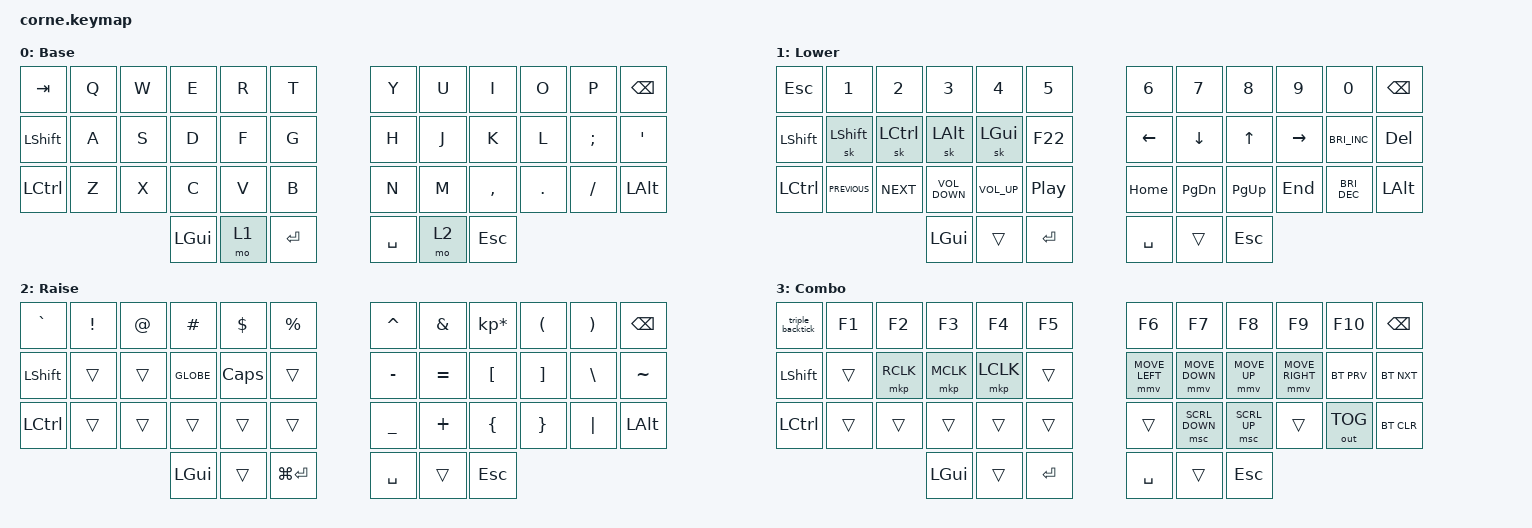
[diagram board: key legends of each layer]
/*
 * Copyright (c) 2020 The ZMK Contributors
 *
 * SPDX-License-Identifier: MIT
 */

#define ZMK_POINTING_DEFAULT_MOVE_VAL 1500
#define ZMK_POINTING_DEFAULT_SCRL_VAL 20

#include <behaviors.dtsi>
#include <dt-bindings/zmk/bt.h>
#include <dt-bindings/zmk/keys.h>
#include <dt-bindings/zmk/outputs.h>
#include <dt-bindings/zmk/pointing.h>

&mt {
    flavor = "balanced";
    require-prior-idle-ms = <250>;
};

&lt {
    flavor = "balanced";
    require-prior-idle-ms = <250>;
};

&sk { quick-release; };

&mmv { acceleration-exponent = <2>; };

&msc { acceleration-exponent = <2>; };

/ {
    combos {
        compatible = "zmk,combos";

        combo {
            bindings = <&mo 3>;
            key-positions = <37 40>;
            timeout-ms = <100>;
        };
    };

    macros {
        triple_backtick: triple_backtick {
            compatible = "zmk,behavior-macro";
            #binding-cells = <0>;
            bindings = <&kp GRAVE &kp GRAVE &kp GRAVE>;
            label = "TRIPLE_BACKTICK";
        };
    };

    keymap {
        compatible = "zmk,keymap";

        default_layer {
            display-name = "Base";
            bindings = <
&kp TAB           &kp Q  &kp W  &kp E     &kp R  &kp T      &kp Y      &kp U  &kp I      &kp O    &kp P          &kp BSPC
&kp LEFT_SHIFT    &kp A  &kp S  &kp D     &kp F  &kp G      &kp H      &kp J  &kp K      &kp L    &kp SEMICOLON  &kp SQT
&kp LEFT_CONTROL  &kp Z  &kp X  &kp C     &kp V  &kp B      &kp N      &kp M  &kp COMMA  &kp DOT  &kp FSLH       &kp LEFT_ALT
                                &kp LGUI  &mo 1  &kp RET    &kp SPACE  &mo 2  &kp ESC
            >;
        };

        lower_layer {
            display-name = "Lower";
            bindings = <
&kp ESC           &kp N1          &kp N2            &kp N3             &kp N4           &kp N5              &kp N6     &kp N7         &kp N8       &kp N9     &kp N0                &kp BACKSPACE
&kp LEFT_SHIFT    &sk LEFT_SHIFT  &sk LEFT_CONTROL  &sk LEFT_ALT       &sk LEFT_GUI     &kp F22             &kp LEFT   &kp DOWN       &kp UP       &kp RIGHT  &kp C_BRIGHTNESS_INC  &kp DELETE
&kp LEFT_CONTROL  &kp C_PREVIOUS  &kp C_NEXT        &kp C_VOLUME_DOWN  &kp C_VOLUME_UP  &kp C_PLAY_PAUSE    &kp HOME   &kp PAGE_DOWN  &kp PAGE_UP  &kp END    &kp C_BRIGHTNESS_DEC  &kp LEFT_ALT
                                                    &kp LGUI           &trans           &kp RET             &kp SPACE  &trans         &kp ESC
            >;
        };

        raise_layer {
            display-name = "Raise";
            bindings = <
&kp GRAVE         &kp EXCL  &kp AT  &kp HASH   &kp DLLR      &kp PRCNT      &kp CARET  &kp AMPS   &kp KP_MULTIPLY  &kp LPAR  &kp RPAR  &kp BSPC
&kp LEFT_SHIFT    &trans    &trans  &kp GLOBE  &kp CAPSLOCK  &trans         &kp MINUS  &kp EQUAL  &kp LBKT         &kp RBKT  &kp BSLH  &kp TILDE
&kp LEFT_CONTROL  &trans    &trans  &trans     &trans        &trans         &kp UNDER  &kp PLUS   &kp LBRC         &kp RBRC  &kp PIPE  &kp LEFT_ALT
                                    &kp LGUI   &trans        &kp LG(RET)    &kp SPACE  &trans     &kp ESC
            >;
        };

        combo_layer {
            display-name = "Combo";
            bindings = <
&triple_backtick  &kp F1  &kp F2     &kp F3     &kp F4     &kp F5     &kp F6          &kp F7          &kp F8        &kp F9           &kp F10       &kp BSPC
&kp LEFT_SHIFT    &trans  &mkp RCLK  &mkp MCLK  &mkp LCLK  &trans     &mmv MOVE_LEFT  &mmv MOVE_DOWN  &mmv MOVE_UP  &mmv MOVE_RIGHT  &bt BT_PRV    &bt BT_NXT
&kp LEFT_CONTROL  &trans  &trans     &trans     &trans     &trans     &trans          &msc SCRL_DOWN  &msc SCRL_UP  &trans           &out OUT_TOG  &bt BT_CLR
                                     &kp LGUI   &trans     &kp RET    &kp SPACE       &trans          &kp ESC
            >;
        };
    };
};
